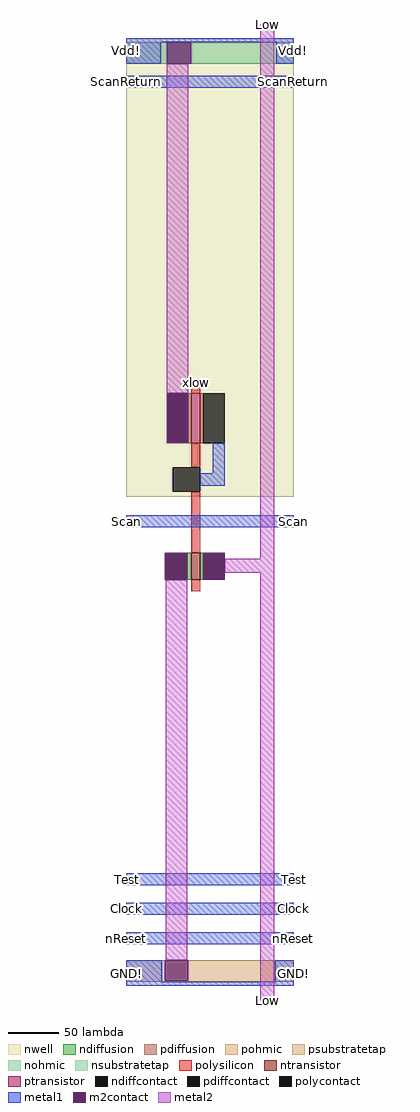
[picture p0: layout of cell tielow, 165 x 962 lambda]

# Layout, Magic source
magic
tech tsmc180
<< nwell >>
rect 0 496 165 948
<< polysilicon >>
rect 64 598 73 609
rect 64 525 73 549
rect 64 441 73 501
rect 64 403 73 414
<< ndiffusion >>
rect 60 414 64 441
rect 73 414 76 441
<< pdiffusion >>
rect 61 549 64 598
rect 73 549 76 598
<< pohmic >>
rect 0 18 35 39
rect 147 18 165 39
<< nohmic >>
rect 0 923 34 944
rect 148 923 165 944
<< ntransistor >>
rect 64 414 73 441
<< ptransistor >>
rect 64 549 73 598
<< polycontact >>
rect 46 501 73 525
<< ndiffcontact >>
rect 38 414 60 441
rect 76 414 97 441
<< pdiffcontact >>
rect 40 549 61 598
rect 76 549 97 598
<< psubstratetap >>
rect 35 18 147 39
<< nsubstratetap >>
rect 34 923 148 944
<< metal1 >>
rect 0 944 165 948
rect 0 923 34 944
rect 148 923 165 944
rect 0 899 165 911
rect 85 519 97 549
rect 73 507 97 519
rect 0 466 165 478
rect 0 113 165 125
rect 0 84 165 96
rect 0 55 165 67
rect 0 18 35 39
rect 147 18 165 39
rect 0 14 165 18
<< m2contact >>
rect 40 923 64 944
rect 40 549 61 598
rect 38 414 60 441
rect 76 414 97 441
rect 38 19 61 39
<< metal2 >>
rect 40 598 61 923
rect 132 435 146 962
rect 97 421 146 435
rect 39 39 60 414
rect 132 0 146 421
<< labels >>
rlabel polysilicon 69 609 69 609 1 xlow
rlabel metal1 165 899 165 911 7 ScanReturn
rlabel metal1 165 923 165 948 7 Vdd!
rlabel metal1 165 466 165 478 7 Scan
rlabel metal1 165 113 165 125 7 Test
rlabel metal1 165 84 165 96 7 Clock
rlabel metal1 165 55 165 67 7 nReset
rlabel metal1 165 14 165 39 7 GND!
rlabel metal1 0 899 0 911 7 ScanReturn
rlabel metal1 0 466 0 478 3 Scan
rlabel metal1 0 14 0 39 3 GND!
rlabel metal1 0 923 0 948 3 Vdd!
rlabel metal1 0 113 0 125 3 Test
rlabel metal1 0 84 0 96 3 Clock
rlabel metal1 0 55 0 67 3 nReset
rlabel metal2 132 962 146 962 5 Low
rlabel metal2 132 0 146 0 1 Low
<< end >>
